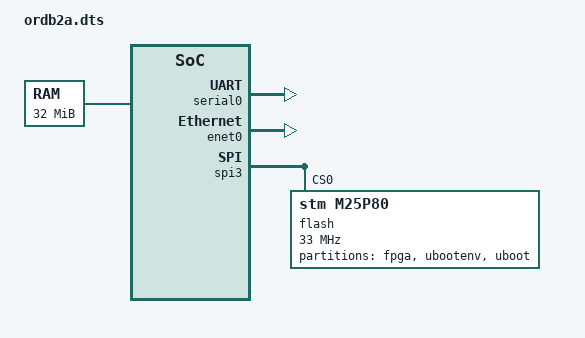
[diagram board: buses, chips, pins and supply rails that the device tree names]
/dts-v1/;
/ {
	compatible = "opencores,or1ksim";
	#address-cells = <1>;
	#size-cells = <1>;
	interrupt-parent = <&pic>;

	chosen {
		bootargs = "console=uart,mmio,0x90000000,115200";
	};

	memory@0 {
		device_type = "memory";
		reg = <0x00000000 0x02000000>;
	};

	cpus {
		#address-cells = <1>;
		#size-cells = <0>;
		cpu@0 {
			compatible = "opencores,or1200-rtlsvn481";
			reg = <0>;
			clock-frequency = <50000000>;
		};
	};

	/*
	 * OR1K PIC is built into CPU and accessed via special purpose
	 * registers.  It is not addressable and, hence, has no 'reg'
	 * property.
	 */
	pic: pic {
		compatible = "opencores,or1k-pic";
		#interrupt-cells = <1>;
		interrupt-controller;
	};

	serial0: serial@90000000 {
		compatible = "opencores,uart16550-rtlsvn105", "ns16550a";
		reg = <0x90000000 0x100>;
		interrupts = <2>;
		clock-frequency = <50000000>;
	};

	enet0: ethoc@92000000 {
		compatible = "opencores,ethmac-rtlsvn338";
		reg = <0x92000000 0x100>;
		interrupts = <4>;
	};

        spi3: spi@b3000000 {
		compatible = "opencores,spi";
		reg = <0xb3000000 0x20>;
		interrupts = <7>;
		#address-cells = <1>;
		#size-cells = <0>;
		flash@0 {
			#address-cells = <1>;
			#size-cells = <1>;
			spi-max-frequency = <33000000>;
			compatible = "stm,m25p80";
			reg = <0>;
			partition@fpga {
				label = "fpga";
				reg = <0x000000 0x0b0000>;
			};
			partition@ubootenv {
				label = "ubootenv";
				reg = <0x0b0000 0x010000>;
			};
			partition@uboot {
				label = "uboot";
				reg = <0x0c0000 0x040000>;
			};
/* No space for Linux in ordb2a flash. Following is suitable for 8MB version
			partition@linux {
				label = "linux";
				reg = <0x100000 0x700000>;
			};
*/
		};
        };

};
